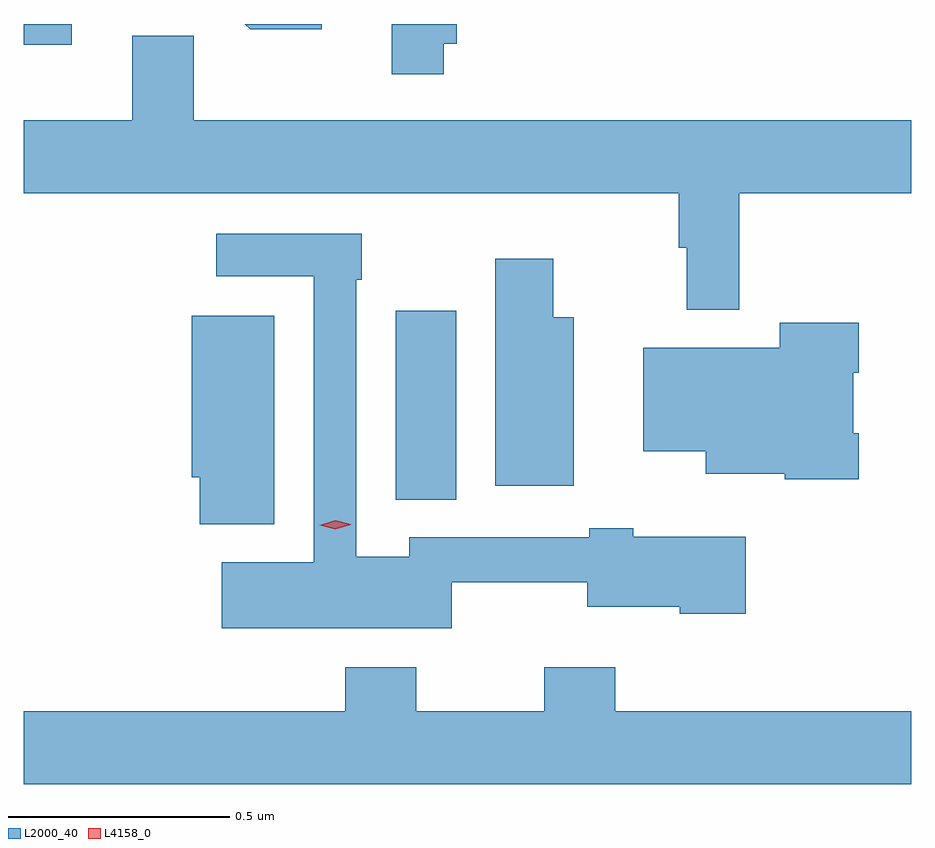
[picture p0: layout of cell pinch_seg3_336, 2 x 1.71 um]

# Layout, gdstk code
import gdstk
lib = gdstk.Library(unit=1e-6, precision=1e-09)
def R(c, l, rs):  # rectangles x0, y0, x1, y1
    for r in rs: c.add(gdstk.rectangle(r[:2], r[2:], *l))
def P(c, l, *ps):  # polygons
    for p in ps: c.add(gdstk.Polygon(p, *l))
L2000_40 = (2000, 40)
L4158_0 = (4158, 0)

pinch_seg3_336 = lib.new_cell('pinch_seg3_336')
R(pinch_seg3_336, L2000_40, [(982.541,718.873,982.678,719.299), (981.703,719.898,981.811,719.945)])
P(pinch_seg3_336, L2000_40, [(982.649,719.9),(982.679,719.9),(982.679,719.945),(982.532,719.945),(982.532,719.832),(982.649,719.832)],
  [(982.375,719.945),(982.201,719.945),(982.213,719.933),(982.375,719.933)],
  [(983.315,719.564),(983.703,719.564),(983.703,719.728),(982.086,719.728),(982.086,719.918),(981.947,719.918),(981.947,719.728),(981.703,719.728),(981.703,719.564),(983.179,719.564),(983.179,719.441),(983.197,719.441),(983.197,719.301),(983.315,719.301)],
  [(982.668,718.687),(982.973,718.687),(982.973,718.631),(983.181,718.631),(983.181,718.616),(983.33,718.616),(983.33,718.789),(983.077,718.789),(983.077,718.808),(982.977,718.808),(982.977,718.788),(982.572,718.788),(982.572,718.744),(982.452,718.744),(982.452,719.369),(982.465,719.369),(982.465,719.472),(982.137,719.472),(982.137,719.376),(982.356,719.376),(982.356,718.732),(982.149,718.732),(982.149,718.583),(982.668,718.583)],
  [(982.942,719.284),(982.896,719.284),(982.896,719.416),(982.766,719.416),(982.766,718.904),(982.942,718.904)],
  [(982.267,719.287),(982.082,719.287),(982.082,718.923),(982.1,718.923),(982.1,718.817),(982.267,718.817)],
  [(983.585,719.023),(983.572,719.023),(983.572,719.159),(983.585,719.159),(983.585,719.272),(983.407,719.272),(983.407,719.215),(983.099,719.215),(983.099,718.982),(983.24,718.982),(983.24,718.931),(983.418,718.931),(983.418,718.919),(983.585,718.919)],
  [(983.703,718.396),(983.036,718.396),(983.036,718.495),(982.876,718.495),(982.876,718.396),(982.587,718.396),(982.587,718.495),(982.427,718.495),(982.427,718.396),(981.703,718.396),(981.703,718.232),(983.703,718.232)])
P(pinch_seg3_336, L4158_0, [(982.405,718.806),(982.37,718.815),(982.37,718.815),(982.37,718.815),(982.405,718.826),(982.44,718.817),(982.44,718.816),(982.44,718.816)])

lib.write_gds('pinch_seg3_336.gds')
